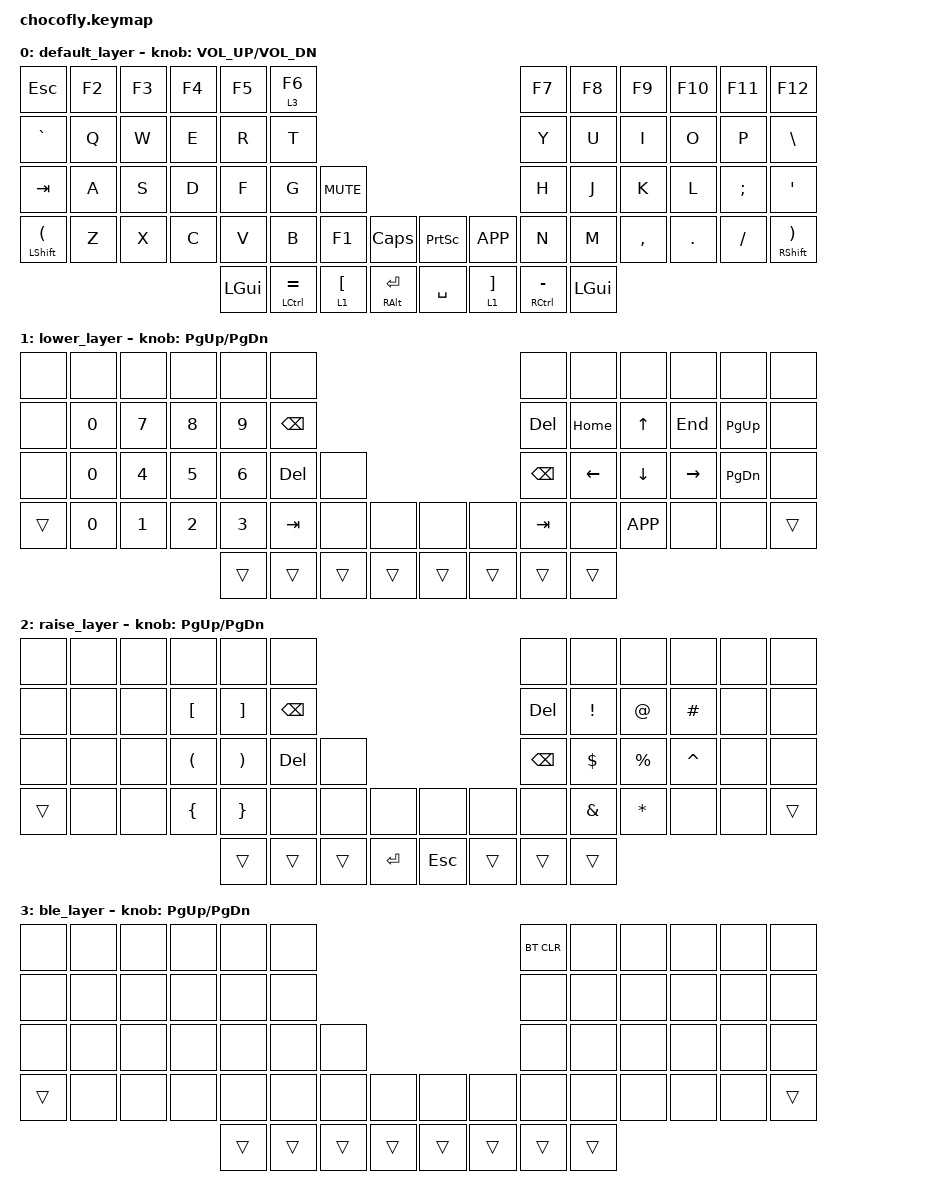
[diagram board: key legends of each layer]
#include <behaviors.dtsi>
#include <dt-bindings/zmk/keys.h>
#include <dt-bindings/zmk/bt.h>

&lt { quick_tap_ms = <200>; };
&mt { quick_tap_ms = <200>; };

/ {
    keymap {
        compatible = "zmk,keymap";

        default_layer {
// ------------------------------------------------------------------------                                              -----------------------------------------------------------------
// |   ESC   |    F2   |    F3   |    F4   |  F5         |  F6            |                                              |  F7           |    F8    |    F9   |   F10 |   F11  |    F12  |
// |   ~     |    Q    |    W    |    E    |  R          |  T             |-----------                                   |  Y            |    U     |    I    |   O   |   P    |    \    |
// |   TAB   |    A    |    S    |    D    |  F          |  G             |   VOL_M  |-----------------------------------|  H            |    J     |    K    |   L   |   ;    |    '    |
// | LSHFT ) |    Z    |    X    |    C    |  V          |  B             |   F1     |     CAPS    |  PR_SCR    |  MENU  |  N            |    M     |    ,    |   .   |   /    | RSHFT ) |
// ----------------------------------------|  GUI        |  LCTRL =       |   L1 [   |   RALT RET  |  SPACE     |  L1 ]  |  RCTRL -      |   GUI    |-------------------------------------
//                                         ----------------------------------------------------------------------------------------------------------
           bindings = <
    &kp ESC         &kp F2   &kp F3   &kp F4   &kp F5     &lt 3 F6                                                          &kp F7           &kp F8     &kp F9    &kp F10 &kp F11  &kp F12
    &kp GRAV        &kp Q    &kp W    &kp E    &kp R      &kp T                                                             &kp Y            &kp U      &kp I     &kp O   &kp P    &kp BSLH
    &kp TAB         &kp A    &kp S    &kp D    &kp F      &kp G            &kp K_MUTE                                       &kp H            &kp J      &kp K     &kp L   &kp SEMI &kp SQT
    &mt LSHFT LPAR  &kp Z    &kp X    &kp C    &kp V      &kp B            &kp F1      &kp CAPS      &kp PSCRN  &kp K_APP   &kp N            &kp M      &kp COMMA &kp DOT &kp FSLH &mt RSHFT RPAR
                                               &kp LGUI   &mt LCTRL EQUAL  &lt 1 LBKT  &mt RALT RET  &kp SPACE  &lt 1 RBKT  &mt RCTRL MINUS  &kp LGUI
            >;
            sensor-bindings = <&inc_dec_kp K_VOL_UP K_VOL_DN>;
        };

        lower_layer {
// -------------------------------------------------------------                                       -------------------------------------------------------------
// |         |         |         |         |         |         |                                       |         |         |         |         |         |         |
// |         |    0    |    7    |    8    |    9    |  BSPC   |----------                             |  DEL    |   HOME  |   UP    |  END    |  PG UP  |         |
// |         |    0    |    4    |    5    |    6    |  DEL    |         |-----------------------------|  BSPC   |   LEFT  |   DOWN  |  RIGHT  | PG DOWN |         |
// |    -    |    0    |    1    |    2    |    3    |  TAB    |         |         |         |         |  TAB    |         | APP MENU|         |         |    -    |
// ----------------------------------------|    -    |  -      |    -    |    -    |   -     |    -    |    -    |    -    |----------------------------------------
//                                         ---------------------------------------------------------------------------------
            bindings = <
    &none         &none    &none    &none     &none     &none                                          &none       &none      &none      &none      &none      &none
    &none         &kp N0   &kp N7   &kp N8    &kp N9    &kp BSPC                                       &kp DEL     &kp HOME   &kp UP     &kp END    &kp PG_UP  &none
    &none         &kp N0   &kp N4   &kp N5    &kp N6    &kp DEL   &none                                &kp BSPC    &kp LEFT   &kp DOWN   &kp RIGHT  &kp PG_DN  &none
    &trans        &kp N0   &kp N1   &kp N2    &kp N3    &kp TAB   &none   &none    &none     &none     &kp TAB     &none      &kp K_APP  &none      &none      &trans
                                              &trans    &trans    &trans  &trans   &trans    &trans    &trans      &trans
            >;
            sensor-bindings = <&inc_dec_kp PG_UP PG_DN>;
        };

        raise_layer {
// -------------------------------------------------------------                                        -------------------------------------------------------------
// |         |         |         |         |         |         |                                       |         |         |         |         |         |         |
// |         |         |         |    [    |    ]    |    BSPC |----------                             |  DEL    |    !    |    @    |    #    |         |         |
// |         |         |         |    (    |    )    |    DEL  |         |-----------------------------|  BSPC   |    $    |    %    |    ^    |         |         |
// |    -    |         |         |    {    |    }    |         |         |         |         |         |         |    &    |    *    |    .    |         |    -    |
// ----------------------------------------|    -    |    -    |    -    |  ENTER  | ESCAPE  |    -    |    -    |    -    |----------------------------------------
//                                         ---------------------------------------------------------------------------------
            bindings = <
    &none         &none    &none    &none     &none     &none                                          &none      &none     &none     &none      &none    &none
    &none         &none    &none    &kp LBKT  &kp RBKT  &kp BSPC                                       &kp DEL    &kp EXCL  &kp AT    &kp HASH   &none    &none
    &none         &none    &none    &kp LPAR  &kp RPAR  &kp DEL   &none                                &kp BSPC   &kp DLLR  &kp PRCNT &kp CARET  &none    &none
    &trans        &none    &none    &kp LBRC  &kp RBRC  &none     &none   &none    &none     &none     &none      &kp AMPS  &kp ASTRK &none      &none    &trans
                                              &trans    &trans    &trans  &kp RET  &kp ESC   &trans    &trans     &trans
            >;
            sensor-bindings = <&inc_dec_kp PG_UP PG_DN>;
        };

        ble_layer {
// -------------------------------------------------------------                                       -------------------------------------------------------------
// |         |         |         |         |         |         |                                       | BT_CLR  |         |         |         |         |         |
// |         |         |         |         |         |         |----------                             |         |         |         |         |         |         |
// |         |         |         |         |         |         |         |-----------------------------|         |         |         |         |         |         |
// |    -    |         |         |         |         |         |         |         |         |         |         |         |         |         |         |    -    |
// ----------------------------------------|    -    |    -    |    -    |    -    |    -    |    -    |    -    |    -    |----------------------------------------
//                                         ---------------------------------------------------------------------------------
            bindings = <
    &none         &none    &none    &none     &none     &none                                          &bt BT_CLR &none    &none    &none    &none    &none
    &none         &none    &none    &none     &none     &none                                          &none      &none    &none    &none    &none    &none
    &none         &none    &none    &none     &none     &none     &none                                &none      &none    &none    &none    &none    &none
    &trans        &none    &none    &none     &none     &none     &none   &none    &none     &none     &none      &none    &none    &none    &none    &trans
                                              &trans    &trans    &trans  &trans   &trans    &trans    &trans     &trans
            >;
            sensor-bindings = <&inc_dec_kp PG_UP PG_DN>;
        };
    };
};
